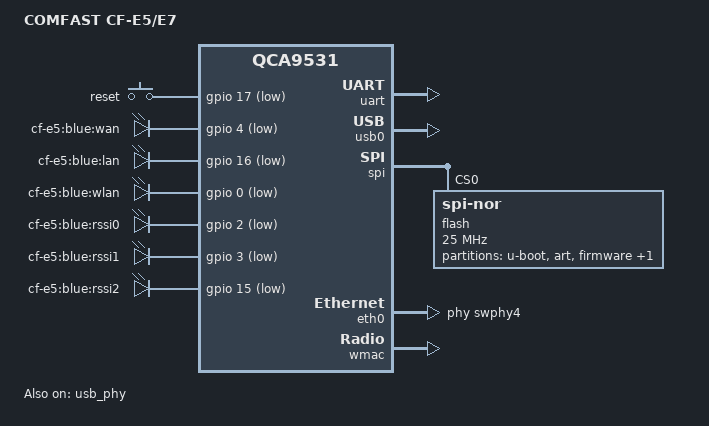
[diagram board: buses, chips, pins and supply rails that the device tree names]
// SPDX-License-Identifier: GPL-2.0-or-later OR MIT
/dts-v1/;

#include <dt-bindings/gpio/gpio.h>
#include <dt-bindings/input/input.h>

#include "qca953x.dtsi"

/ {
	compatible = "comfast,cf-e5", "qca,qca9531";
	model = "COMFAST CF-E5/E7";

	aliases {
		label-mac-device = &eth0;
	};

	keys {
		compatible = "gpio-keys";

		reset {
			label = "reset";
			linux,code = <KEY_RESTART>;
			gpios = <&gpio 17 GPIO_ACTIVE_LOW>;
		};
	};

	leds {
		compatible = "gpio-leds";
		pinctrl-names = "default";
		pinctrl-0 = <&jtag_disable_pins &led_wan_pin>;

		wan {
			label = "cf-e5:blue:wan";
			gpios = <&gpio 4 GPIO_ACTIVE_LOW>;
		};

		lan {
			label = "cf-e5:blue:lan";
			gpios = <&gpio 16 GPIO_ACTIVE_LOW>;
		};

		wlan {
			label = "cf-e5:blue:wlan";
			gpios = <&gpio 0 GPIO_ACTIVE_LOW>;
			linux,default-trigger = "phy0tpt";
		};

		rssi0 {
			label = "cf-e5:blue:rssi0";
			gpios = <&gpio 2 GPIO_ACTIVE_LOW>;
		};

		rssi1 {
			label = "cf-e5:blue:rssi1";
			gpios = <&gpio 3 GPIO_ACTIVE_LOW>;
		};

		rssi2 {
			label = "cf-e5:blue:rssi2";
			gpios = <&gpio 15 GPIO_ACTIVE_LOW>;
		};
	};
};

&uart {
	status = "okay";
};

&usb0 {
	#address-cells = <1>;
	#size-cells = <0>;
	status = "okay";

	hub_port: port@1 {
		reg = <1>;
		#trigger-source-cells = <0>;
	};
};

&usb_phy {
	status = "okay";
};

&spi {
	status = "okay";
	num-cs = <1>;

	flash@0 {
		compatible = "jedec,spi-nor";
		reg = <0>;
		spi-max-frequency = <25000000>;

		partitions {
			compatible = "fixed-partitions";
			#address-cells = <1>;
			#size-cells = <1>;

			partition@0 {
				label = "u-boot";
				reg = <0x000000 0x010000>;
				read-only;
			};

			art: partition@10000 {
				label = "art";
				reg = <0x010000 0x010000>;
				read-only;
			};

			partition@20000 {
				compatible = "denx,uimage";
				label = "firmware";
				reg = <0x020000 0xfd0000>;
			};

			partition@ff0000 {
				label = "art-backup";
				reg = <0xff0000 0x010000>;
				read-only;
			};
		};
	};
};

&eth0 {
	status = "okay";

	phy-handle = <&swphy4>;

	mtd-mac-address = <&art 0x0>;
};

&eth1 {
	mtd-mac-address = <&art 0x6>;
};

&wmac {
	status = "okay";

	mtd-cal-data = <&art 0x1000>;
};

&pinmux {
	led_wan_pin: pinmux_led_wan_pin {
		pinctrl-single,bits = <0x4 0x0 0xff>;
	};
};
